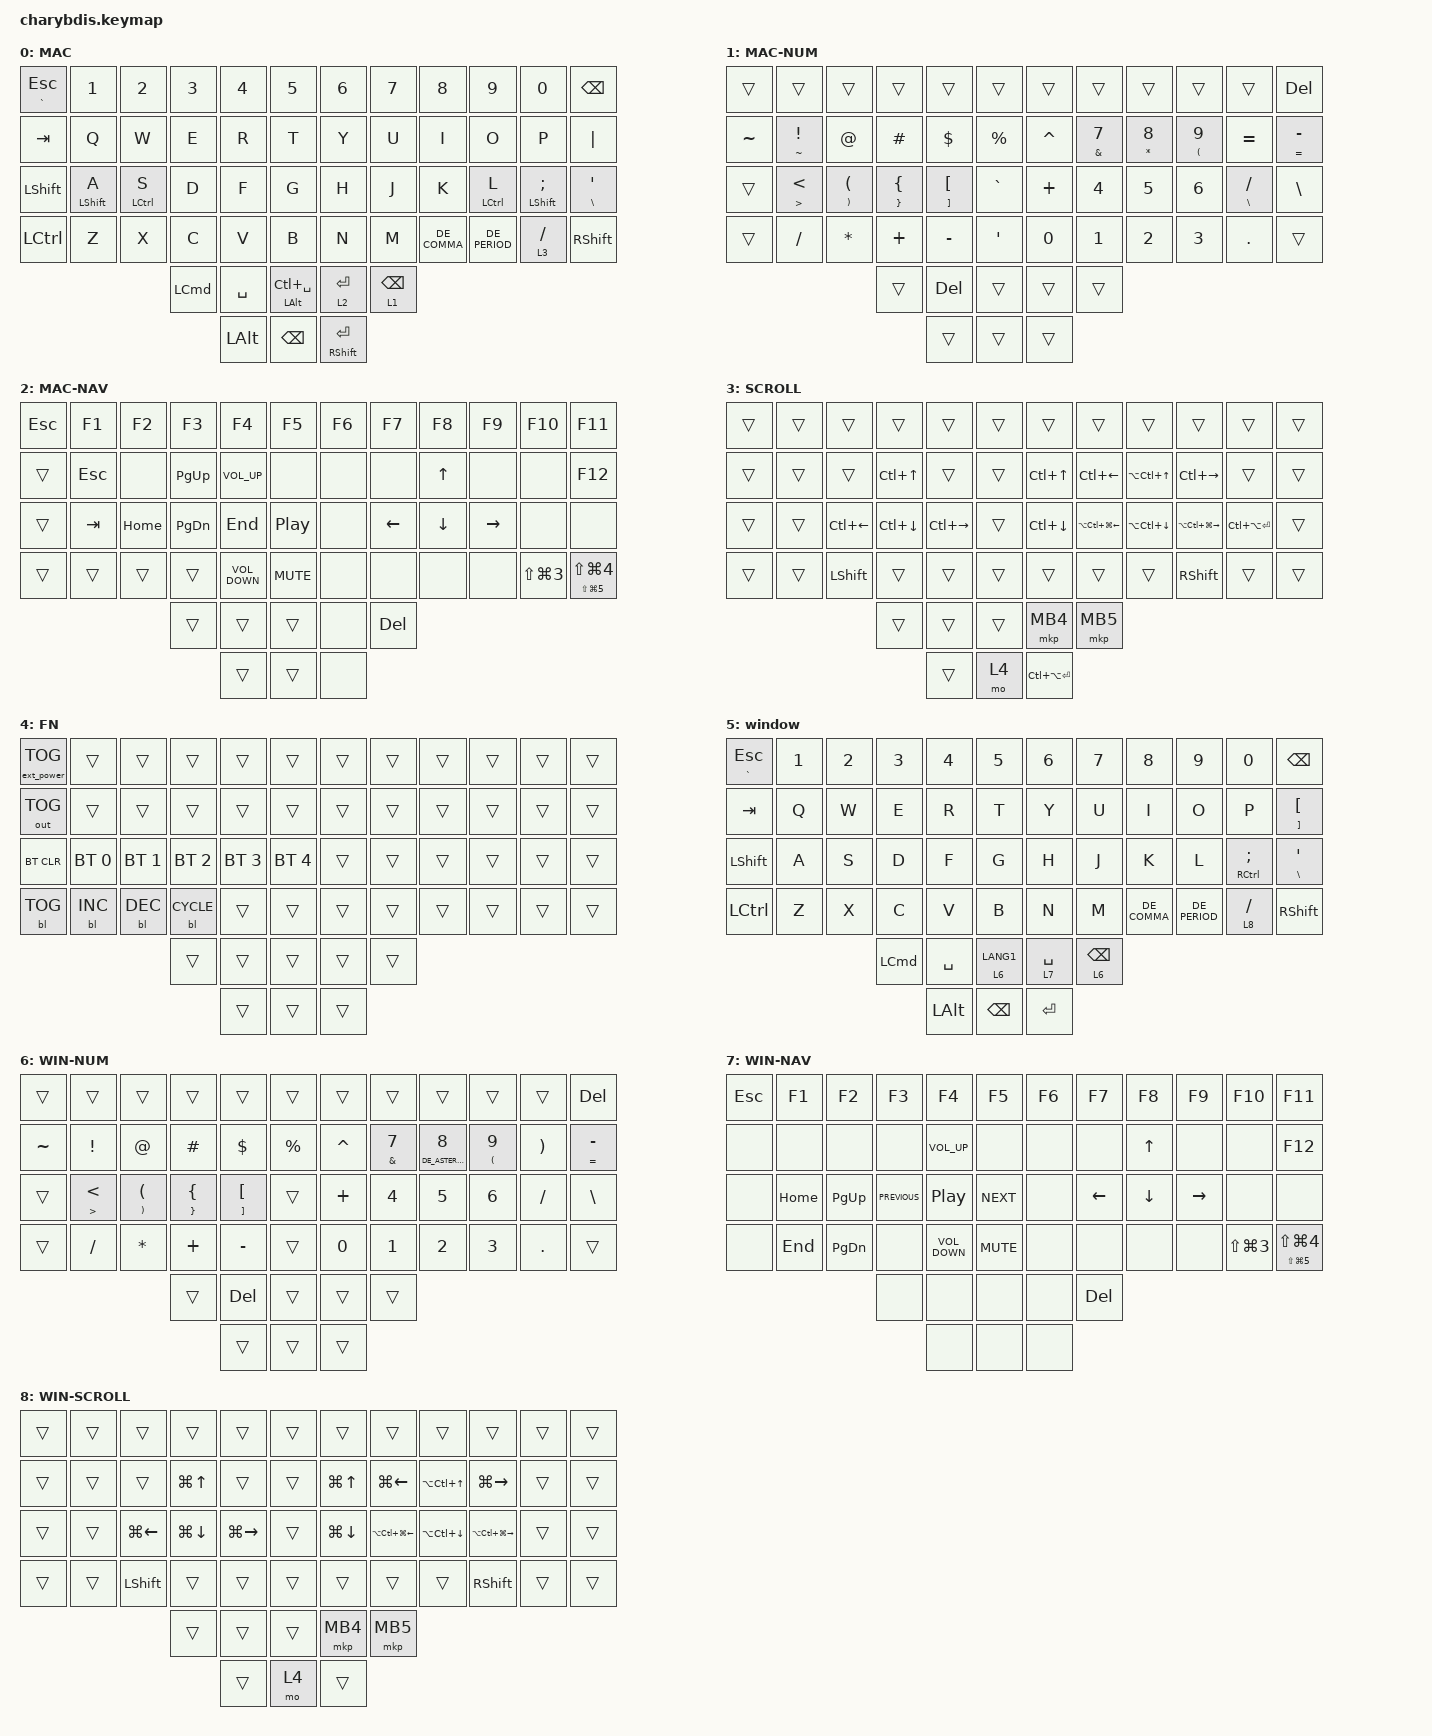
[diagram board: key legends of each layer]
#include "keys_de_swiss.h"
#include <dt-bindings/zmk/mouse.h>
#include <behaviors/mouse_keys.dtsi>
#include <behaviors.dtsi>
#include <dt-bindings/zmk/backlight.h>
#include <dt-bindings/zmk/bt.h>
#include <dt-bindings/zmk/ext_power.h>
#include <dt-bindings/zmk/keys.h>
#include <dt-bindings/zmk/outputs.h>
#include <dt-bindings/zmk/pointing.h>

// / {
//     chosen { zmk,matrix_transform = &default_transform; };
// };

/ {
    /* input config for mouse move mode */

    trackball_listener {
        compatible = "zmk,input-behavior-listener";
        device = <&vtrackball>;
        layers = <0 1 2 5 6 7>;
        evt-type = <INPUT_EV_REL>;
        x-input-code = <INPUT_REL_X>;
        y-input-code = <INPUT_REL_Y>;
        scale-multiplier = <1>;
        scale-divisor = <2>;

        // bindings = <&ib_toggle_layer 7>;
    };

    /* input config for snipe mode */

    trackball_snipe_listener {
        compatible = "zmk,input-behavior-listener";
        device = <&vtrackball>;
        layers = <10>;
        evt-type = <INPUT_EV_REL>;
        x-input-code = <INPUT_REL_X>;
        y-input-code = <INPUT_REL_Y>;
        scale-multiplier = <1>;
        scale-divisor = <4>;
    };

    /* input config for mouse scroll mode */

    trackball_scroll_listener {
        compatible = "zmk,input-behavior-listener";
        device = <&vtrackball>;
        layers = <3 8>;
        evt-type = <INPUT_EV_REL>;
        x-input-code = <INPUT_REL_MISC>;
        y-input-code = <INPUT_REL_WHEEL>;
        y-invert;
        bindings = <&ib_wheel_scaler 1 30>;
    };

    /* define a resolution down scaler only for INPUT_REL_WHEEL */

    ib_wheel_scaler: ib_wheel_scaler {
        compatible = "zmk,input-behavior-scaler";
        #binding-cells = <2>;
        evt-type = <INPUT_EV_REL>;
        input-code = <INPUT_REL_WHEEL>;
    };

    /* adjust cooldown waiting period for mouse key layer after activated */

    ib_toggle_layer: ib_toggle_layer {
        compatible = "zmk,input-behavior-tog-layer";
        #binding-cells = <1>;
        time-to-live-ms = <750>;
    };

    // #define QUERTZ    0
    // #define NUMBERS   1
    // #define NAV-FUN   2
    // #define MAC       3
    // #define MAC-NUM   4
    // #define MAC-NAV   5
    // #define GAME      6
    // #define GAME-NUM  7
    // #define GAME-NAV  8
    // #define SCROLL    9
    // #define SNIPER   10
    // #define FN       11

    combos {
        compatible = "zmk,combos";

        to-FN {
            bindings = <&mo 4>;
            key-positions = <54 55>;
            layers = <1>;
        };

        rh_leftClick {
            bindings = <&mkp LCLK>;
            key-positions = <43 44>;
        };

        rh_rightClick {
            bindings = <&mkp RCLK>;
            key-positions = <44 45>;
        };

        rh_middleClick {
            bindings = <&mkp MCLK>;
            key-positions = <44 43 45>;
        };

        lh_leftClick {
            bindings = <&mkp LCLK>;
            key-positions = <38 39>;
        };

        lh_rightClick {
            bindings = <&mkp RCLK>;
            key-positions = <39 40>;
        };

        lh_middleClick {
            bindings = <&mkp MCLK>;
            key-positions = <38 39 40>;
        };

        toWin {
            bindings = <&to 5>;
            key-positions = <0 11>;
        };

        to-mac {
            bindings = <&to 0>;
            key-positions = <0 23>;
        };
    };

    behaviors {
        hmr: hmr {
            compatible = "zmk,behavior-hold-tap";
            label = "HMR";
            bindings = <&kp>, <&kp>;

            #binding-cells = <2>;
            tapping-term-ms = <190>;
            quick-tap-ms = <175>;
            flavor = "balanced";
            hold-trigger-key-positions = <0 1 2 3 4 5 12 13 14 15 16 17 24 25 26 27 28 29 36 37 38 39 40 41 48 49 50 53 54 51 52 55>;
            hold-trigger-on-release;
        };

        hml: hml {
            compatible = "zmk,behavior-hold-tap";
            label = "HML";
            bindings = <&kp>, <&kp>;

            #binding-cells = <2>;
            tapping-term-ms = <190>;
            quick-tap-ms = <175>;
            flavor = "balanced";
            hold-trigger-key-positions = <48 49 50 53 54 51 52 55 6 7 8 9 10 11 18 19 20 21 22 23 30 31 32 33 34 35 42 43 44 45 46 47 51 52>;
            hold-trigger-on-release;
        };
    };

    keymap {
        compatible = "zmk,keymap";

        default_mac_layer {
            label = "MAC";
            bindings = <
&mt GRAVE ESCAPE  &kp N1             &kp N2        &kp N3    &kp N4        &kp N5                     &kp N6                  &kp N7           &kp N8        &kp N9         &kp N0                &kp BACKSPACE
&kp TAB           &kp Q              &kp W         &kp E     &kp R         &kp T                      &kp Y                   &kp U            &kp I         &kp O          &kp P                 &kp PIPE
&kp LEFT_SHIFT    &hml LEFT_SHIFT A  &hml LCTRL S  &kp D     &kp F         &kp G                      &kp H                   &kp J            &kp K         &hml LCTRL L   &hmr LEFT_SHIFT SEMI  &mt BACKSLASH APOS
&kp LEFT_CONTROL  &kp Z              &kp X         &kp C     &kp V         &kp B                      &kp N                   &kp M            &kp DE_COMMA  &kp DE_PERIOD  &lt 3 FSLH            &kp RSHIFT
                                                   &kp LCMD  &kp SPACE     &hml LEFT_ALT LC(SPACE)    &lt 2 ENTER             &lt 1 BACKSPACE
                                                             &kp LEFT_ALT  &kp BACKSPACE              &hmr RIGHT_SHIFT ENTER
            >;
        };

        mac_raise_layer {
            label = "MAC-NUM";
            bindings = <
&trans     &trans           &trans         &trans         &trans         &trans       &trans     &trans            &trans       &trans       &trans          &kp DELETE
&kp TILDE  &hml TILDE EXCL  &kp AT_SIGN    &kp HASH       &kp DLLR       &kp PRCNT    &kp CARET  &mt AMPERSAND N7  &mt STAR N8  &mt LPAR N9  &kp EQUAL       &mt EQUAL MINUS
&trans     &mt GT LT        &mt RPAR LPAR  &mt RBRC LBRC  &mt RBKT LBKT  &kp GRAVE    &kp PLUS   &kp N4            &kp N5       &kp N6       &hmr BSLH FSLH  &kp BSLH
&trans     &kp SLASH        &kp ASTRK      &kp PLUS       &kp MINUS      &kp APOS     &kp N0     &kp N1            &kp N2       &kp N3       &kp DOT         &trans
                                           &trans         &kp DELETE     &trans       &trans     &trans
                                                          &trans         &trans       &trans
            >;
        };

        mac_lower_layer {
            label = "MAC-NAV";
            bindings = <
&kp ESC  &kp F1      &kp F2    &kp F3     &kp F4             &kp F5              &kp F6  &kp F7      &kp F8    &kp F9     &kp F10               &kp F11
&trans   &kp ESCAPE  &none     &kp PG_UP  &kp C_VOLUME_UP    &none               &none   &none       &kp UP    &none      &none                 &kp F12
&trans   &kp TAB     &kp HOME  &kp PG_DN  &kp END            &kp C_PLAY_PAUSE    &none   &kp LEFT    &kp DOWN  &kp RIGHT  &none                 &none
&trans   &trans      &trans    &trans     &kp C_VOLUME_DOWN  &kp K_MUTE          &none   &none       &none     &none      &kp LS(LG(NUMBER_3))  &mt LS(LG(NUMBER_5)) LS(LG(NUMBER_4))
                               &trans     &trans             &trans              &none   &kp DELETE
                                          &trans             &trans              &none
            >;
        };

        scroll_layer {
            bindings = <
&trans  &trans  &trans              &trans        &trans         &trans    &trans             &trans                      &trans            &trans                 &trans             &trans
&trans  &trans  &trans              &kp LC(UP)    &trans         &trans    &kp LC(UP)         &kp LC(LEFT_ARROW)          &kp LA(LC(UP))    &kp LC(RIGHT_ARROW)    &trans             &trans
&trans  &trans  &kp LC(LEFT_ARROW)  &kp LC(DOWN)  &kp LC(RIGHT)  &trans    &kp LC(DOWN)       &kp LA(LC(LG(LEFT_ARROW)))  &kp LA(LC(DOWN))  &kp LA(LC(LG(RIGHT)))  &kp LC(LA(ENTER))  &trans
&trans  &trans  &kp LEFT_SHIFT      &trans        &trans         &trans    &trans             &trans                      &trans            &kp RIGHT_SHIFT        &trans             &trans
                                    &trans        &trans         &trans    &mkp MB4           &mkp MB5
                                                  &trans         &mo 4     &kp LC(LA(ENTER))
            >;

            label = "SCROLL";
        };

        keeb_pref_layer {
            label = "FN";
            bindings = <
&ext_power EP_TOG  &trans        &trans        &trans        &trans        &trans          &trans  &trans  &trans  &trans  &trans  &trans
&out OUT_TOG       &trans        &trans        &trans        &trans        &trans          &trans  &trans  &trans  &trans  &trans  &trans
&bt BT_CLR         &bt BT_SEL 0  &bt BT_SEL 1  &bt BT_SEL 2  &bt BT_SEL 3  &bt BT_SEL 4    &trans  &trans  &trans  &trans  &trans  &trans
&bl BL_TOG         &bl BL_INC    &bl BL_DEC    &bl BL_CYCLE  &trans        &trans          &trans  &trans  &trans  &trans  &trans  &trans
                                               &trans        &trans        &trans          &trans  &trans
                                                             &trans        &trans          &trans
            >;
        };

        window {
            label = "window";
            bindings = <
&mt GRAVE ESCAPE  &kp N1  &kp N2  &kp N3    &kp N4        &kp N5           &kp N6       &kp N7           &kp N8        &kp N9         &kp N0                   &kp BACKSPACE
&kp TAB           &kp Q   &kp W   &kp E     &kp R         &kp T            &kp Y        &kp U            &kp I         &kp O          &kp P                    &mt RBKT LBKT
&kp LEFT_SHIFT    &kp A   &kp S   &kp D     &kp F         &kp G            &kp H        &kp J            &kp K         &kp L          &hmr RIGHT_CONTROL SEMI  &mt BACKSLASH APOS
&kp LEFT_CONTROL  &kp Z   &kp X   &kp C     &kp V         &kp B            &kp N        &kp M            &kp DE_COMMA  &kp DE_PERIOD  &lt 8 FSLH               &kp RSHIFT
                                  &kp LCMD  &kp SPACE     &lt 6 LANG1      &lt 7 SPACE  &lt 6 BACKSPACE
                                            &kp LEFT_ALT  &kp BACKSPACE    &kp ENTER
            >;
        };

        layer_6 {
            label = "WIN-NUM";
            bindings = <
&trans     &trans     &trans         &trans         &trans         &trans       &trans     &trans            &trans              &trans       &trans                 &kp DELETE
&kp TILDE  &kp EXCL   &kp AT_SIGN    &kp HASH       &kp DLLR       &kp PRCNT    &kp CARET  &mt AMPERSAND N7  &mt DE_ASTERISK N8  &mt LPAR N9  &kp RIGHT_PARENTHESIS  &mt EQUAL MINUS
&trans     &mt GT LT  &mt RPAR LPAR  &mt RBRC LBRC  &mt RBKT LBKT  &trans       &kp PLUS   &kp N4            &kp N5              &kp N6       &kp FSLH               &kp BSLH
&trans     &kp SLASH  &kp ASTRK      &kp PLUS       &kp MINUS      &trans       &kp N0     &kp N1            &kp N2              &kp N3       &kp DOT                &trans
                                     &trans         &kp DELETE     &trans       &trans     &trans
                                                    &trans         &trans       &trans
            >;
        };

        layer_7 {
            label = "WIN-NAV";
            bindings = <
&kp ESC  &kp F1    &kp F2         &kp F3          &kp F4             &kp F5        &kp F6  &kp F7      &kp F8    &kp F9     &kp F10               &kp F11
&none    &none     &none          &none           &kp C_VOLUME_UP    &none         &none   &none       &kp UP    &none      &none                 &kp F12
&none    &kp HOME  &kp PAGE_UP    &kp C_PREVIOUS  &kp C_PLAY_PAUSE   &kp C_NEXT    &none   &kp LEFT    &kp DOWN  &kp RIGHT  &none                 &none
&none    &kp END   &kp PAGE_DOWN  &none           &kp C_VOLUME_DOWN  &kp K_MUTE    &none   &none       &none     &none      &kp LS(LG(NUMBER_3))  &mt LS(LG(NUMBER_5)) LS(LG(NUMBER_4))
                                  &none           &none              &none         &none   &kp DELETE
                                                  &none              &none         &none
            >;
        };

        scroll_layer_win {
            label = "WIN-SCROLL";
            bindings = <
&trans  &trans  &trans              &trans        &trans         &trans    &trans        &trans                      &trans            &trans                 &trans  &trans
&trans  &trans  &trans              &kp LG(UP)    &trans         &trans    &kp LG(UP)    &kp LG(LEFT_ARROW)          &kp LA(LC(UP))    &kp LG(RIGHT_ARROW)    &trans  &trans
&trans  &trans  &kp LG(LEFT_ARROW)  &kp LG(DOWN)  &kp LG(RIGHT)  &trans    &kp LG(DOWN)  &kp LA(LC(LG(LEFT_ARROW)))  &kp LA(LC(DOWN))  &kp LA(LC(LG(RIGHT)))  &trans  &trans
&trans  &trans  &kp LEFT_SHIFT      &trans        &trans         &trans    &trans        &trans                      &trans            &kp RIGHT_SHIFT        &trans  &trans
                                    &trans        &trans         &trans    &mkp MB4      &mkp MB5
                                                  &trans         &mo 4     &trans
            >;
        };
    };
};
